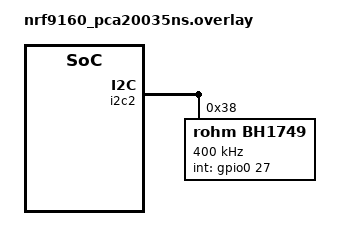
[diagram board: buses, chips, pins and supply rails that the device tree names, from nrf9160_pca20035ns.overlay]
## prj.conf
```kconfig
CONFIG_SPM=n

CONFIG_LOG=y
CONFIG_RTT_CONSOLE=y
CONFIG_HAS_SEGGER_RTT=y
CONFIG_USE_SEGGER_RTT=y

CONFIG_I2C=y
CONFIG_SENSOR=y
CONFIG_BH1749=y
CONFIG_BH1749_TRIGGER_GLOBAL_THREAD=y
```

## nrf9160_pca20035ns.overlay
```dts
/*
 * Copyright (c) 2019 Linaro Limited
 *
 * SPDX-License-Identifier: Apache-2.0
 */

&i2c2 {
        bh1749@38 {
                  compatible = "rohm,bh1749";
                  label = "BH1749";
                  reg = <0x38>;
                  clock-frequency = <I2C_BITRATE_FAST>;
                  int-gpios = <&gpio0 27 0>;
        };
};
```

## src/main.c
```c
/*
 * Copyright (c) 2018 Analog Devices Inc.
 *
 * SPDX-License-Identifier: Apache-2.0
 */
/* ADT7420 */

#include <zephyr.h>
#include <device.h>
#include <sensor.h>
#include <stdio.h>
#include <misc/__assert.h>

#define THRESHOLD_UPPER                 50
#define THRESHOLD_LOWER                 0
#define TRIGGER_ON_DATA_READY           0

K_SEM_DEFINE(sem, 0, 1);

static void trigger_handler(struct device *dev, struct sensor_trigger *trigger)
{
	ARG_UNUSED(dev);
	switch (trigger->type) {
	case SENSOR_TRIG_THRESHOLD:
		printk("Threshold trigger\r\n");
		break;
	case SENSOR_TRIG_DATA_READY:
		printk("Data ready trigger\r\n");
		break;
	default:
		printk("Unknown trigger event %d\r\n", trigger->type);
		break;
	}
	k_sem_give(&sem);
}

static int bh1479_set_attribute(struct device *dev, enum sensor_channel chan,
				enum sensor_attribute attr, int value)
{
	int ret;
	struct sensor_value sensor_val;

	sensor_val.val1 = (value);

	ret = sensor_attr_set(dev, chan, attr, &sensor_val);
	if (ret) {
		printk("sensor_attr_set failed ret %d\n", ret);
	}

	return ret;
}

/* This sets up  the sensor to signal valid data when a threshold
 * value is reached.
 */
static void process(struct device *dev)
{
	int ret;
	struct sensor_value temp_val;
	struct sensor_trigger sensor_trig_conf = {
		#if (TRIGGER_ON_DATA_READY)
		.type = SENSOR_TRIG_DATA_READY,
		#else
		.type = SENSOR_TRIG_THRESHOLD,
		#endif
		.chan = SENSOR_CHAN_RED,
	};

	if (IS_ENABLED(CONFIG_BH1749_TRIGGER)) {
		bh1479_set_attribute(dev, SENSOR_CHAN_ALL,
				     SENSOR_ATTR_LOWER_THRESH,
				     THRESHOLD_LOWER);
		bh1479_set_attribute(dev, SENSOR_CHAN_ALL,
				     SENSOR_ATTR_UPPER_THRESH,
				     THRESHOLD_UPPER);

		if (sensor_trigger_set(dev, &sensor_trig_conf, trigger_handler)) {
			printk("Could not set trigger\n");
			return;
		}
	}

	while (1) {
		if (IS_ENABLED(CONFIG_BH1749_TRIGGER)) {
			/* Waiting for a trigger event */
			k_sem_take(&sem, K_FOREVER);
		}
		ret = sensor_sample_fetch_chan(dev, SENSOR_CHAN_ALL);
		/* The sensor does only support fetching SENSOR_CHAN_ALL */
		if (ret) {
			printk("sensor_sample_fetch failed ret %d\n", ret);
			return;
		}

		ret = sensor_channel_get(dev, SENSOR_CHAN_RED, &temp_val);
		if (ret) {
			printk("sensor_channel_get failed ret %d\n", ret);
			return;
		}
		printk("BH1749 RED: %d\n", temp_val.val1);

		ret = sensor_channel_get(dev, SENSOR_CHAN_GREEN, &temp_val);
		if (ret) {
			printk("sensor_channel_get failed ret %d\n", ret);
			return;
		}
		printk("BH1749 GREEN: %d\n", temp_val.val1);

		ret = sensor_channel_get(dev, SENSOR_CHAN_BLUE, &temp_val);
		if (ret) {
			printk("sensor_channel_get failed ret %d\n", ret);
			return;
		}
		printk("BH1749 BLUE: %d\n", temp_val.val1);

		ret = sensor_channel_get(dev, SENSOR_CHAN_IR, &temp_val);
		if (ret) {
			printk("sensor_channel_get failed ret %d\n", ret);
			return;
		}
		printk("BH1749 IR: %d\n", temp_val.val1);
		k_sleep(2000);
	}
}

void main(void)
{
	struct device *dev;

	if (IS_ENABLED(CONFIG_LOG_BACKEND_RTT)) {
		/* Give RTT log time to be flushed before executing tests */
		k_sleep(3000);
	}
	dev = device_get_binding("BH1749");
	if (dev == NULL) {
		printk("Failed to get device binding\n");
		return;
	}
	printk("device is %p, name is %s\n", dev, dev->config->name);
	process(dev);
}
```
